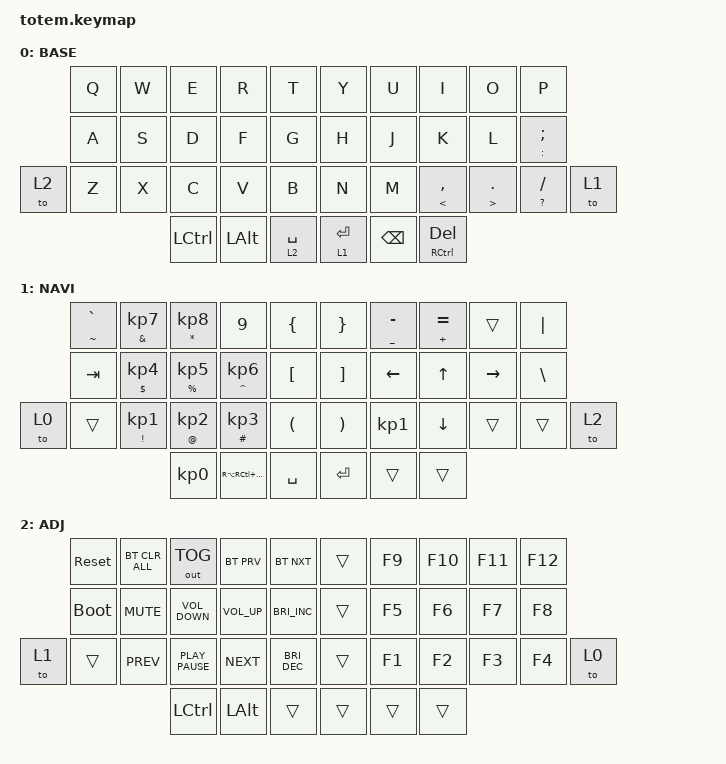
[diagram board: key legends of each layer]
// TOTEM

#include <behaviors.dtsi>
#include <dt-bindings/zmk/bt.h>
#include <dt-bindings/zmk/keys.h>
#include <dt-bindings/zmk/outputs.h>

#define BASE 0
#define NAV  1
#define SYM  2
#define ADJ  3

&mt {
    quick-tap-ms = <100>;
    global-quick-tap;
    flavor = "tap-preferred";
    tapping-term-ms = <170>;
};

/ {
    combos {
        compatible = "zmk,combos";

        hml_esc {
            bindings = <&kp ESCAPE>;
            key-positions = <2 3>;
        };

        hml_space {
            bindings = <&kp SPACE>;
            key-positions = <12 13>;
        };

        hmr_enter {
            bindings = <&kp ENTER>;
            key-positions = <16 17>;
        };

        hmr_bkspc {
            bindings = <&kp BACKSPACE>;
            key-positions = <6 7>;
        };

        f_ctrl {
            bindings = <&mt LCTRL F>;
            key-positions = <13 12>;
        };

        j_ctrl {
            bindings = <&mt LCTRL J>;
            key-positions = <16 17>;
        };

        d_lshift {
            bindings = <&mt LSHFT D>;
            key-positions = <12 13>;
        };

        k_rhisft {
            bindings = <&mt RSHIFT K>;
            key-positions = <17 16>;
        };

        hml_tab {
            bindings = <&kp TAB>;
            key-positions = <11 10>;
        };
    };

    macros {
        gif: gif {
            label = "giphy";
            compatible = "zmk,behavior-macro";
            #binding-cells = <0>;
            bindings =
                <&macro_press>,
                <&kp LSHFT>,
                <&macro_tap>,
                <&kp N2>,
                <&macro_release>,
                <&kp LSHFT>,
                <&macro_tap>,
                <&kp G &kp I &kp F>;
        };
    };

    keymap {
        compatible = "zmk,keymap";

        base_layer {
            label = "BASE";
            bindings = <
       &kp Q  &kp W  &kp E      &kp R         &kp T          &kp Y      &kp U          &kp I                &kp O                    &kp P
       &kp A  &kp S  &kp D      &kp F         &kp G          &kp H      &kp J          &kp K                &kp L                    &mt COLON SEMICOLON
&to 2  &kp Z  &kp X  &kp C      &kp V         &kp B          &kp N      &kp M          &mt LESS_THAN COMMA  &mt GREATER_THAN PERIOD  &mt QUESTION SLASH   &to 1
                     &kp LCTRL  &kp LEFT_ALT  &lt 2 SPACE    &lt 1 RET  &kp BACKSPACE  &mt RCTRL DELETE
            >;
        };

        nav_layer {
            label = "NAVI";
            bindings = <
       &mt TILDE GRAVE  &mt AMPERSAND KP_NUMBER_7    &mt ASTERISK KP_NUMBER_8  &kp N9                 &kp LBRC     &kp RBRC   &mt UNDERSCORE MINUS  &mt PLUS EQUAL  &trans           &kp PIPE
       &kp TAB          &mt DOLLAR KP_NUMBER_4       &mt PERCENT KP_NUMBER_5   &mt CARET KP_NUMBER_6  &kp LBKT     &kp RBKT   &kp LEFT_ARROW        &kp UP_ARROW    &kp RIGHT_ARROW  &kp BACKSLASH
&to 0  &trans           &mt EXCLAMATION KP_NUMBER_1  &mt AT_SIGN KP_NUMBER_2   &mt HASH KP_NUMBER_3   &kp LPAR     &kp RPAR   &kp KP_N1             &kp DOWN_ARROW  &trans           &trans         &to 2
                                                     &kp KP_NUMBER_0           &kp RA(RC(DELETE))     &kp SPACE    &kp ENTER  &trans                &trans
            >;
        };

        adjust_layer {
            label = "ADJ";
            bindings = <
       &sys_reset   &bt BT_CLR_ALL  &out OUT_TOG       &bt BT_PRV       &bt BT_NXT              &trans  &kp F9  &kp F10  &kp F11  &kp F12
       &bootloader  &kp K_MUTE      &kp C_VOLUME_DOWN  &kp C_VOLUME_UP  &kp C_BRIGHTNESS_INC    &trans  &kp F5  &kp F6   &kp F7   &kp F8
&to 1  &trans       &kp K_PREV      &kp K_PLAY_PAUSE   &kp K_NEXT       &kp C_BRIGHTNESS_DEC    &trans  &kp F1  &kp F2   &kp F3   &kp F4   &to 0
                                    &kp LCTRL          &kp LEFT_ALT     &trans                  &trans  &trans  &trans
            >;
        };
    };
};
